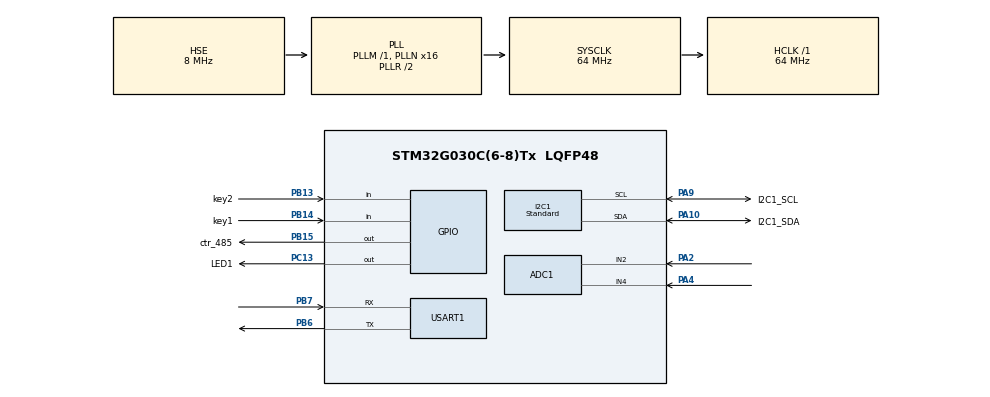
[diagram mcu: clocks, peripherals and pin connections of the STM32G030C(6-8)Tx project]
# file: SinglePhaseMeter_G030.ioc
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ADC1.ClockPrescaler=ADC_CLOCK_SYNC_PCLK_DIV4
ADC1.ContinuousConvMode=ENABLE
ADC1.DMAContinuousRequests=ENABLE
ADC1.DiscontinuousConvMode=DISABLE
ADC1.NbrOfConversion=1
ADC1.NbrOfConversionFlag=0
ADC1.SamplingTimeCommon1=ADC_SAMPLETIME_160CYCLES_5
ADC1.SelectedChannel=ADC_CHANNEL_2|ADC_CHANNEL_4
ADC1.Sequencer=NOT_FULLY_CONFIGURABLE
ADC1.master=1
Dma.ADC1.0.Direction=DMA_PERIPH_TO_MEMORY
Dma.ADC1.0.EventEnable=DISABLE
Dma.ADC1.0.Instance=DMA1_Channel1
Dma.ADC1.0.MemDataAlignment=DMA_MDATAALIGN_HALFWORD
Dma.ADC1.0.MemInc=DMA_MINC_ENABLE
Dma.ADC1.0.Mode=DMA_NORMAL
Dma.ADC1.0.PeriphDataAlignment=DMA_PDATAALIGN_HALFWORD
Dma.ADC1.0.PeriphInc=DMA_PINC_DISABLE
Dma.ADC1.0.Polarity=HAL_DMAMUX_REQ_GEN_RISING
Dma.ADC1.0.Priority=DMA_PRIORITY_LOW
Dma.ADC1.0.RequestNumber=1
Dma.ADC1.0.SignalID=NONE
Dma.ADC1.0.SyncEnable=DISABLE
Dma.ADC1.0.SyncPolarity=HAL_DMAMUX_SYNC_NO_EVENT
Dma.ADC1.0.SyncRequestNumber=1
Dma.ADC1.0.SyncSignalID=NONE
Dma.Request0=ADC1
I2C1.Analog_Filter=I2C_ANALOGFILTER_DISABLE
I2C1.CustomTiming=Disabled
I2C1.I2C_Speed_Mode=I2C_Standard
I2C1.Timing=0x10707EBE
Mcu.Family=STM32G0
Mcu.Name=STM32G030C(6-8)Tx
Mcu.Package=LQFP48
NVIC.DMA1_Channel1_IRQn=true\:0\:0\:false\:false\:true\:false\:true\:true
NVIC.TIM14_IRQn=true\:0\:0\:false\:false\:true\:true\:true\:true
NVIC.USART1_IRQn=true\:0\:0\:false\:false\:true\:true\:true\:true
PA10.GPIO_Label=I2C1_SDA
PA10.Mode=I2C
PA10.Signal=I2C1_SDA
PA13.Mode=Serial_Wire
PA13.Signal=SYS_SWDIO
PA14-BOOT0.Mode=Serial_Wire
PA14-BOOT0.Signal=SYS_SWCLK
PA2.Mode=IN2
PA2.Signal=ADC1_IN2
PA4.Mode=IN4
PA4.Signal=ADC1_IN4
PA9.GPIO_Label=I2C1_SCL
PA9.Mode=I2C
PA9.Signal=I2C1_SCL
PB13.GPIO_Label=key2
PB13.Signal=GPIO_Input
PB14.GPIO_Label=key1
PB14.Signal=GPIO_Input
PB15.GPIO_Label=ctr_485
PB15.Signal=GPIO_Output
PB6.Mode=Asynchronous
PB6.Signal=USART1_TX
PB7.Mode=Asynchronous
PB7.Signal=USART1_RX
PC13.GPIO_Label=LED1
PC13.Signal=GPIO_Output
PF0-OSC_IN\ (PF0).Mode=HSE-External-Oscillator
PF0-OSC_IN\ (PF0).Signal=RCC_OSC_IN
PF1-OSC_OUT\ (PF1).Mode=HSE-External-Oscillator
PF1-OSC_OUT\ (PF1).Signal=RCC_OSC_OUT
ProjectManager.HeapSize=0x200
ProjectManager.StackSize=0x400
ProjectManager.TargetToolchain=MDK-ARM V5.32
RCC.ADCFreq_Value=64000000
RCC.AHBFreq_Value=64000000
RCC.CortexFreq_Value=64000000
RCC.EXTERNAL_CLOCK_VALUE=12288000
RCC.HCLKFreq_Value=64000000
RCC.HSE_VALUE=8000000
RCC.HSI_VALUE=16000000
RCC.LSE_VALUE=32768
RCC.PLLN=16
RCC.PLLSourceVirtual=RCC_PLLSOURCE_HSE
RCC.SYSCLKFreq_VALUE=64000000
RCC.SYSCLKSource=RCC_SYSCLKSOURCE_PLLCLK
RCC.VCOOutputFreq_Value=128000000
TIM14.Period=40
TIM14.Prescaler=15
USART1.VirtualMode-Asynchronous=VM_ASYNC
VP_TIM14_VS_ClockSourceINT.Mode=Enable_Timer
board=custom

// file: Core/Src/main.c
/* USER CODE BEGIN Header */
/**
  ******************************************************************************
  * @file           : main.c
  * @brief          : Main program body
  ******************************************************************************
  * @attention
  *
  * Copyright (c) 2024 STMicroelectronics.
  * All rights reserved.
  *
  * This software is licensed under terms that can be found in the LICENSE file
  * in the root directory of this software component.
  * If no LICENSE file comes with this software, it is provided AS-IS.
  *
  ******************************************************************************
  */
/* USER CODE END Header */
#include "main.h"
#include "adc.h"
#include "dma.h"
#include "i2c.h"
#include "tim.h"
#include "usart.h"
#include "gpio.h"

/* USER CODE BEGIN Includes */
#include "stdio.h"
#include "OLED.h"
/* USER CODE END Includes */

/* USER CODE BEGIN PV */
uint32_t timeMark = 0;//全局时间量，spend 10us add 1
uint16_t Voltage = 0;
uint16_t Current = 0;
uint16_t Power = 0;
uint16_t Freq = 0;
uint16_t voltageAndCurrentValue[2048] = {0};

/* USER CODE END PV */

void SystemClock_Config(void);

/* USER CODE BEGIN 0 */
//清空数组
void clearArray(uint16_t* Array,uint32_t Length,uint16_t defaultValue){
  for (int i = 0; i < Length; i++)
  {
    *Array = defaultValue;
    Array++;
  }

}
//串口重定�?
int fputc(int ch, FILE *f){
  HAL_UART_Transmit(&huart1, (uint8_t *)&ch, 1, 0xffff);
  return ch;
}
//输入1个十进制的数，返回十进制数的长度
uint8_t numBitCount(uint32_t number){
  uint8_t Length = 0;
  if (number == 0) return 1;
  while (number)
  {
    number = number/10;
    Length++;
  }
  return Length;
}
//更新数据
void updateData(void){
  OLED_Clear();
  OLED_ShowString(0,0,"Voltage:",OLED_8X16);
  OLED_ShowString(0,16,"Current:",OLED_8X16);
  OLED_ShowString(0,32,"Power:",OLED_8X16);
  OLED_ShowString(0,48,"Freq:",OLED_8X16);
  OLED_ShowNum(64,0,Voltage,numBitCount(Voltage),OLED_8X16);
  OLED_ShowNum(64,16,Current,numBitCount(Current),OLED_8X16);
  OLED_ShowNum(64,32,Power,numBitCount(Power),OLED_8X16);
  OLED_ShowNum(64,48,Freq,numBitCount(Freq),OLED_8X16);
  OLED_ShowString(112,0,"V",OLED_8X16);
  OLED_ShowString(112,16,"mA",OLED_8X16);
  OLED_ShowString(112,32,"W",OLED_8X16);
  OLED_ShowString(112,48,"Hz",OLED_8X16);
  OLED_Update();
}
/* USER CODE END 0 */

int main(void)
{

  /* MCU Configuration--------------------------------------------------------*/

  /* Reset of all peripherals, Initializes the Flash interface and the Systick. */
  HAL_Init();

  /* Configure the system clock */
  SystemClock_Config();

  /* Initialize all configured peripherals */
  MX_GPIO_Init();
  MX_DMA_Init();
  MX_ADC1_Init();
  MX_I2C1_Init();
  MX_USART1_UART_Init();
  MX_TIM14_Init();
  /* USER CODE BEGIN 2 */
  OLED_Init();
  HAL_TIM_Base_Start_IT(&htim14);
  HAL_ADCEx_Calibration_Start(&hadc1);
  HAL_ADC_Start_DMA(&hadc1,(uint32_t*)voltageAndCurrentValue,sizeof(voltageAndCurrentValue)/sizeof(uint16_t));
  /* USER CODE END 2 */

  /* Infinite loop */
  /* USER CODE BEGIN WHILE */
  uint16_t voltageMax = 0;
  uint16_t currentMax = 0;
  uint16_t maxVoltageLocation = 0;
  uint16_t minVoltageLocation = 0;

  double freqAccumulator = 0;
  double currentAccumulator = 0;
  double voltageAccumulator = 0;
  uint16_t AccumulateCount = 1;

  while (1)
  {
    HAL_GPIO_WritePin(LED1_GPIO_Port,LED1_Pin,GPIO_PIN_RESET);//正常工作,常亮

    if (voltageAndCurrentValue[sizeof(voltageAndCurrentValue)/sizeof(uint16_t) - 1] != 0x0000)
    {
      HAL_ADC_Stop_DMA(&hadc1);
      //电压
      for (int i = 0; i < sizeof(voltageAndCurrentValue)/sizeof(voltageAndCurrentValue[0]); i += 2)
      {
        if (voltageAndCurrentValue[i] > voltageMax)
        {
          voltageMax = voltageAndCurrentValue[i];
        }
      }
      voltageAccumulator += ((voltageMax* 600)/4096)-240;
      Voltage = voltageAccumulator/(1.414 * AccumulateCount);
      //电流
      for (int i = 1; i < sizeof(voltageAndCurrentValue)/sizeof(voltageAndCurrentValue[0]); i += 2)
      {
       if (voltageAndCurrentValue[i] > currentMax)
       {
         currentMax = voltageAndCurrentValue[i];
       }
      }
      Current = (currentMax * 3300/4096) - 2243;
			if(Current > 3000) Current = 0;
      currentAccumulator += Current;
			Current = currentAccumulator/(1.414 * AccumulateCount);
      Power = Voltage * Current / 1000;
      //频率
			uint16_t max = 0;
			uint16_t min = voltageAndCurrentValue[0];
      for (int i = 0; i < sizeof(voltageAndCurrentValue)/sizeof(voltageAndCurrentValue[0]); i += 2)
      {
        if (voltageAndCurrentValue[i] > max)
        {
          max =  voltageAndCurrentValue[i];
          maxVoltageLocation = i;
        }
        if (voltageAndCurrentValue[i] < min)
        {
          min = voltageAndCurrentValue[i];
          minVoltageLocation = i;
        }
      }
      uint16_t distance = (maxVoltageLocation > minVoltageLocation)?(maxVoltageLocation - minVoltageLocation):(minVoltageLocation - maxVoltageLocation);
      double Frequeny = 1000000/((distance - 1) * 10.8125);
      freqAccumulator += Frequeny;
      Freq = freqAccumulator / (AccumulateCount * 2);
			AccumulateCount++;

      //累加值清零,防止溢出
      if(AccumulateCount == 2000){
        AccumulateCount = 1;
        freqAccumulator = 0;
        currentAccumulator = 0;
        voltageAccumulator = 0;
      }
      // for (int i = 0; i < sizeof(voltageAndCurrentValue)/sizeof(voltageAndCurrentValue[0]); i += 2){
      //   printf("%d ",voltageAndCurrentValue[i]);
      // }
      // HAL_Delay(5000);
      clearArray(voltageAndCurrentValue,sizeof(voltageAndCurrentValue)/sizeof(voltageAndCurrentValue[0]),0x0000);
      HAL_ADC_Start_DMA(&hadc1,(uint32_t*)voltageAndCurrentValue,sizeof(voltageAndCurrentValue)/sizeof(uint16_t));
    }
    updateData();//刷新数据到OLED
    /* USER CODE END WHILE */

  }
}

void SystemClock_Config(void)
{
  RCC_OscInitTypeDef RCC_OscInitStruct = {0};
  RCC_ClkInitTypeDef RCC_ClkInitStruct = {0};

  /** Configure the main internal regulator output voltage
  */
  HAL_PWREx_ControlVoltageScaling(PWR_REGULATOR_VOLTAGE_SCALE1);

  /** Initializes the RCC Oscillators according to the specified parameters
  * in the RCC_OscInitTypeDef structure.
  */
  RCC_OscInitStruct.OscillatorType = RCC_OSCILLATORTYPE_HSE;
  RCC_OscInitStruct.HSEState = RCC_HSE_ON;
  RCC_OscInitStruct.PLL.PLLState = RCC_PLL_ON;
  RCC_OscInitStruct.PLL.PLLSource = RCC_PLLSOURCE_HSE;
  RCC_OscInitStruct.PLL.PLLM = RCC_PLLM_DIV1;
  RCC_OscInitStruct.PLL.PLLN = 16;
  RCC_OscInitStruct.PLL.PLLP = RCC_PLLP_DIV2;
  RCC_OscInitStruct.PLL.PLLR = RCC_PLLR_DIV2;
  if (HAL_RCC_OscConfig(&RCC_OscInitStruct) != HAL_OK)
  {
    Error_Handler();
  }

  /** Initializes the CPU, AHB and APB buses clocks
  */
  RCC_ClkInitStruct.ClockType = RCC_CLOCKTYPE_HCLK|RCC_CLOCKTYPE_SYSCLK
                              |RCC_CLOCKTYPE_PCLK1;
  RCC_ClkInitStruct.SYSCLKSource = RCC_SYSCLKSOURCE_PLLCLK;
  RCC_ClkInitStruct.AHBCLKDivider = RCC_SYSCLK_DIV1;
  RCC_ClkInitStruct.APB1CLKDivider = RCC_HCLK_DIV1;

  if (HAL_RCC_ClockConfig(&RCC_ClkInitStruct, FLASH_LATENCY_2) != HAL_OK)
  {
    Error_Handler();
  }
}

/* USER CODE BEGIN 4 */
void HAL_TIM_PeriodElapsedCallback(TIM_HandleTypeDef *htim)
{
  if (htim == &htim14)
  {
    timeMark++;
  }
}
/* USER CODE END 4 */

void Error_Handler(void)
{
  /* USER CODE BEGIN Error_Handler_Debug */
  /* User can add his own implementation to report the HAL error return state */
  __disable_irq();
  while (1)
  {
    //出现硬件上错误，闪烁
    HAL_GPIO_WritePin(LED1_GPIO_Port,LED1_Pin,GPIO_PIN_RESET);
    HAL_Delay(200);
    HAL_GPIO_WritePin(LED1_GPIO_Port,LED1_Pin,GPIO_PIN_SET);
    HAL_Delay(200);
  }
  /* USER CODE END Error_Handler_Debug */
}
